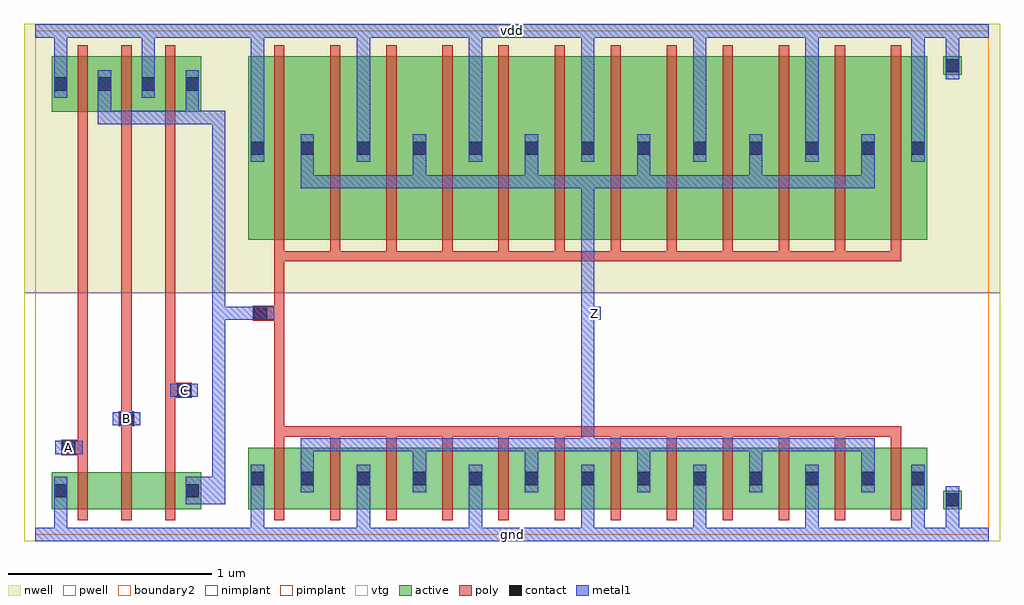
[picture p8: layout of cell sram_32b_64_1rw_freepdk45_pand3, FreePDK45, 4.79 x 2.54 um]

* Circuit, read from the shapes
.subckt sram_32b_64_1rw_freepdk45_pand3 A B C Z gnd vdd
M1 sram_32b_64_1rw_freepdk45_pnand3_0_0/sram_32b_64_1rw_freepdk45_nmos_m1_w0_180_sm1_dactive_3/D A gnd gnd nfet w=0.18u l=0.05u
M2 sram_32b_64_1rw_freepdk45_pnand3_0_0/sram_32b_64_1rw_freepdk45_nmos_m1_w0_180_sactive_dactive_4/D B sram_32b_64_1rw_freepdk45_pnand3_0_0/sram_32b_64_1rw_freepdk45_nmos_m1_w0_180_sm1_dactive_3/D gnd nfet w=0.18u l=0.05u
M3 sram_32b_64_1rw_freepdk45_pdriver_2_1/A C sram_32b_64_1rw_freepdk45_pnand3_0_0/sram_32b_64_1rw_freepdk45_nmos_m1_w0_180_sactive_dactive_4/D gnd nfet w=0.18u l=0.05u
M4 Z sram_32b_64_1rw_freepdk45_pdriver_2_1/A gnd gnd nfet w=0.3u l=0.05u m=12
M5 sram_32b_64_1rw_freepdk45_pdriver_2_1/A A vdd vdd pfet w=0.27u l=0.05u
M6 vdd B sram_32b_64_1rw_freepdk45_pdriver_2_1/A vdd pfet w=0.27u l=0.05u
M7 sram_32b_64_1rw_freepdk45_pdriver_2_1/A C vdd vdd pfet w=0.27u l=0.05u
M8 Z sram_32b_64_1rw_freepdk45_pdriver_2_1/A vdd vdd pfet w=0.9u l=0.05u m=12
.ends

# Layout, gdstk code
import gdstk
lib = gdstk.Library(unit=1e-6, precision=5e-10)
def R(c, l, rs):  # rectangles x0, y0, x1, y1
    for r in rs: c.add(gdstk.rectangle(r[:2], r[2:], *l))
def A(c, l, x, y, w, h, nx, ny, dx, dy):  # array of equal rectangles
    R(c, l, [(x+i*dx, y+j*dy, x+i*dx+w, y+j*dy+h) for i in range(nx) for j in range(ny)])
active = (1, 0)
pwell = (2, 0)
nwell = (3, 0)
nimplant = (4, 0)
pimplant = (5, 0)
vtg = (6, 0)
poly = (9, 0)
contact = (10, 0)
metal1 = (11, 0)
boundary2 = (239, 0)

sram_32b_64_1rw_freepdk4 = lib.new_cell('sram_32b_64_1rw_freepdk45_contact_11')
R(sram_32b_64_1rw_freepdk4, active, [(0,0.0225,0.09,0.1125)])
R(sram_32b_64_1rw_freepdk4, nwell, [(-0.055,-0.0325,0.145,0.1675)])
R(sram_32b_64_1rw_freepdk4, pimplant, [(0,0.0225,0.09,0.1125)])
R(sram_32b_64_1rw_freepdk4, contact, [(0.0125,0.035,0.0775,0.1)])
R(sram_32b_64_1rw_freepdk4, metal1, [(0.0125,0,0.0775,0.135)])
R(sram_32b_64_1rw_freepdk4, boundary2, [(-0.055,-0.0325,0.145,0.1675)])

c_sram_32b_64_1rw_freepdk4 = lib.new_cell('sram_32b_64_1rw_freepdk45_pmos_m1_w0_270_sm1_dm1')
R(c_sram_32b_64_1rw_freepdk4, active, [(0,0,0.305,0.27)])
R(c_sram_32b_64_1rw_freepdk4, nwell, [(-0.08,-0.08,0.385,0.35)])
R(c_sram_32b_64_1rw_freepdk4, pimplant, [(0,0,0.305,0.27)])
R(c_sram_32b_64_1rw_freepdk4, vtg, [(-0.08,-0.08,0.385,0.35)])
R(c_sram_32b_64_1rw_freepdk4, poly, [(0.1275,-0.055,0.1775,0.325), (0.1275,-0.055,0.1775,0.325)])
R(c_sram_32b_64_1rw_freepdk4, metal1, [(0.0125,0.0675,0.0775,0.2025), (0.2275,0.0675,0.2925,0.2025)])
R(c_sram_32b_64_1rw_freepdk4, boundary2, [(-0.08,-0.08,0.385,0.35)])
c_sram_32b_64_1rw_freepdk4.add(gdstk.Reference(sram_32b_64_1rw_freepdk4, (0,0.0675)))
c_sram_32b_64_1rw_freepdk4.add(gdstk.Reference(sram_32b_64_1rw_freepdk4, (0.215,0.0675)))
c_sram_32b_64_1rw_freepdk4.add(gdstk.Label('G', (0.1525,0.135), layer=9, texttype=0))
c_sram_32b_64_1rw_freepdk4.add(gdstk.Label('S', (0.045,0.135), layer=11, texttype=0))
c_sram_32b_64_1rw_freepdk4.add(gdstk.Label('D', (0.26,0.135), layer=11, texttype=0))

c_sram_32b_64_1rw_freepdk4_ = lib.new_cell('sram_32b_64_1rw_freepdk45_contact_10')
R(c_sram_32b_64_1rw_freepdk4_, active, [(0,0.0225,0.09,0.1125)])
R(c_sram_32b_64_1rw_freepdk4_, pwell, [(-0.055,-0.0325,0.145,0.1675)])
R(c_sram_32b_64_1rw_freepdk4_, nimplant, [(0,0.0225,0.09,0.1125)])
R(c_sram_32b_64_1rw_freepdk4_, contact, [(0.0125,0.035,0.0775,0.1)])
R(c_sram_32b_64_1rw_freepdk4_, metal1, [(0.0125,0,0.0775,0.135)])
R(c_sram_32b_64_1rw_freepdk4_, boundary2, [(-0.055,-0.0325,0.145,0.1675)])

c_sram_32b_64_1rw_freepdk4__ = lib.new_cell('sram_32b_64_1rw_freepdk45_nmos_m1_w0_180_sm1_dactive')
R(c_sram_32b_64_1rw_freepdk4__, active, [(0,0,0.305,0.18), (0.215,0.045,0.305,0.135)])
R(c_sram_32b_64_1rw_freepdk4__, pwell, [(-0.08,-0.08,0.385,0.26)])
R(c_sram_32b_64_1rw_freepdk4__, nimplant, [(0,0,0.305,0.18)])
R(c_sram_32b_64_1rw_freepdk4__, vtg, [(-0.08,-0.08,0.385,0.26)])
R(c_sram_32b_64_1rw_freepdk4__, poly, [(0.1275,-0.055,0.1775,0.235), (0.1275,-0.055,0.1775,0.235)])
R(c_sram_32b_64_1rw_freepdk4__, metal1, [(0.0125,0.0225,0.0775,0.1575)])
R(c_sram_32b_64_1rw_freepdk4__, boundary2, [(-0.08,-0.08,0.385,0.26)])
c_sram_32b_64_1rw_freepdk4__.add(gdstk.Reference(c_sram_32b_64_1rw_freepdk4_, (0,0.0225)))
c_sram_32b_64_1rw_freepdk4__.add(gdstk.Label('G', (0.1525,0.09), layer=9, texttype=0))
c_sram_32b_64_1rw_freepdk4__.add(gdstk.Label('S', (0.045,0.09), layer=11, texttype=0))
c_sram_32b_64_1rw_freepdk4__.add(gdstk.Label('D', (0.26,0.09), layer=1, texttype=0))

c_sram_32b_64_1rw_freepdk4___ = lib.new_cell('sram_32b_64_1rw_freepdk45_nmos_m1_w0_180_sactive_dactive')
R(c_sram_32b_64_1rw_freepdk4___, active, [(0,0,0.305,0.18), (0,0.045,0.09,0.135), (0.215,0.045,0.305,0.135)])
R(c_sram_32b_64_1rw_freepdk4___, pwell, [(-0.08,-0.08,0.385,0.26)])
R(c_sram_32b_64_1rw_freepdk4___, nimplant, [(0,0,0.305,0.18)])
R(c_sram_32b_64_1rw_freepdk4___, vtg, [(-0.08,-0.08,0.385,0.26)])
R(c_sram_32b_64_1rw_freepdk4___, poly, [(0.1275,-0.055,0.1775,0.235), (0.1275,-0.055,0.1775,0.235)])
R(c_sram_32b_64_1rw_freepdk4___, boundary2, [(-0.08,-0.08,0.385,0.26)])
c_sram_32b_64_1rw_freepdk4___.add(gdstk.Label('G', (0.1525,0.09), layer=9, texttype=0))
c_sram_32b_64_1rw_freepdk4___.add(gdstk.Label('S', (0.045,0.09), layer=1, texttype=0))
c_sram_32b_64_1rw_freepdk4___.add(gdstk.Label('D', (0.26,0.09), layer=1, texttype=0))

c_sram_32b_64_1rw_freepdk4____ = lib.new_cell('sram_32b_64_1rw_freepdk45_nmos_m1_w0_180_sactive_dm1')
R(c_sram_32b_64_1rw_freepdk4____, active, [(0,0,0.305,0.18), (0,0.045,0.09,0.135)])
R(c_sram_32b_64_1rw_freepdk4____, pwell, [(-0.08,-0.08,0.385,0.26)])
R(c_sram_32b_64_1rw_freepdk4____, nimplant, [(0,0,0.305,0.18)])
R(c_sram_32b_64_1rw_freepdk4____, vtg, [(-0.08,-0.08,0.385,0.26)])
R(c_sram_32b_64_1rw_freepdk4____, poly, [(0.1275,-0.055,0.1775,0.235), (0.1275,-0.055,0.1775,0.235)])
R(c_sram_32b_64_1rw_freepdk4____, metal1, [(0.2275,0.0225,0.2925,0.1575)])
R(c_sram_32b_64_1rw_freepdk4____, boundary2, [(-0.08,-0.08,0.385,0.26)])
c_sram_32b_64_1rw_freepdk4____.add(gdstk.Reference(c_sram_32b_64_1rw_freepdk4_, (0.215,0.0225)))
c_sram_32b_64_1rw_freepdk4____.add(gdstk.Label('G', (0.1525,0.09), layer=9, texttype=0))
c_sram_32b_64_1rw_freepdk4____.add(gdstk.Label('S', (0.045,0.09), layer=1, texttype=0))
c_sram_32b_64_1rw_freepdk4____.add(gdstk.Label('D', (0.26,0.09), layer=11, texttype=0))

c_sram_32b_64_1rw_freepdk4_____ = lib.new_cell('sram_32b_64_1rw_freepdk45_contact_14')
R(c_sram_32b_64_1rw_freepdk4_____, poly, [(0.03,0,0.105,0.075)])
R(c_sram_32b_64_1rw_freepdk4_____, contact, [(0.035,0.005,0.1,0.07)])
R(c_sram_32b_64_1rw_freepdk4_____, metal1, [(0,0.005,0.135,0.07)])
R(c_sram_32b_64_1rw_freepdk4_____, boundary2, [(0,0,0.135,0.075)])

c_sram_32b_64_1rw_freepdk4______ = lib.new_cell('sram_32b_64_1rw_freepdk45_pnand3_0')
R(c_sram_32b_64_1rw_freepdk4______, pwell, [(-0.055,-0.0325,1.02,1.185)])
R(c_sram_32b_64_1rw_freepdk4______, nwell, [(-0.055,1.185,1.02,2.505)])
R(c_sram_32b_64_1rw_freepdk4______, vtg, [(-0.055,-0.0325,1.02,1.185), (-0.055,1.185,1.02,2.505)])
A(c_sram_32b_64_1rw_freepdk4______, poly, 0.2075, 0.36, 0.05, 1.66, 3, 1, 0.215, 0)
R(c_sram_32b_64_1rw_freepdk4______, poly, [(0.165,0.39,0.2075,0.465), (0.4225,0.53,0.4475,0.605), (0.6375,0.67,0.73,0.745)])
R(c_sram_32b_64_1rw_freepdk4______, metal1, [(0,-0.0325,0.965,0.0325), (0.0925,-0.0325,0.1575,0.1475), (0.77,0.1475,0.9,0.2825), (0.8675,0.1475,0.9325,2.045), (0.0975,0.395,0.2325,0.46), (0.38,0.535,0.515,0.6), (0.6625,0.675,0.7975,0.74), (0.3075,2.0125,0.3725,2.0775), (0.34,2.0125,0.9,2.0775), (0.7375,2.0125,0.8025,2.0775), (0.77,2.0125,0.9,2.0775), (0.8675,2.0125,0.9325,2.0775), (0.3075,2.045,0.3725,2.21), (0.7375,2.045,0.8025,2.21), (0.0925,2.1425,0.1575,2.5025), (0.5225,2.1425,0.5875,2.5025), (0,2.4375,0.965,2.5025)])
R(c_sram_32b_64_1rw_freepdk4______, boundary2, [(0,0,0.965,2.47), (0,0,0.965,2.47)])
c_sram_32b_64_1rw_freepdk4______.add(gdstk.Reference(c_sram_32b_64_1rw_freepdk4, (0.08,2.075)))
c_sram_32b_64_1rw_freepdk4______.add(gdstk.Reference(c_sram_32b_64_1rw_freepdk4, (0.295,2.075)))
c_sram_32b_64_1rw_freepdk4______.add(gdstk.Reference(c_sram_32b_64_1rw_freepdk4, (0.51,2.075)))
c_sram_32b_64_1rw_freepdk4______.add(gdstk.Reference(c_sram_32b_64_1rw_freepdk4__, (0.08,0.125)))
c_sram_32b_64_1rw_freepdk4______.add(gdstk.Reference(c_sram_32b_64_1rw_freepdk4___, (0.295,0.125)))
c_sram_32b_64_1rw_freepdk4______.add(gdstk.Reference(c_sram_32b_64_1rw_freepdk4____, (0.51,0.125)))
c_sram_32b_64_1rw_freepdk4______.add(gdstk.Reference(c_sram_32b_64_1rw_freepdk4_____, (0.0975,0.39)))
c_sram_32b_64_1rw_freepdk4______.add(gdstk.Reference(c_sram_32b_64_1rw_freepdk4_____, (0.38,0.53)))
c_sram_32b_64_1rw_freepdk4______.add(gdstk.Reference(c_sram_32b_64_1rw_freepdk4_____, (0.6625,0.67)))
c_sram_32b_64_1rw_freepdk4______.add(gdstk.Label('A', (0.165,0.4275), layer=11, texttype=0))
c_sram_32b_64_1rw_freepdk4______.add(gdstk.Label('B', (0.4475,0.5675), layer=11, texttype=0))
c_sram_32b_64_1rw_freepdk4______.add(gdstk.Label('C', (0.73,0.7075), layer=11, texttype=0))
c_sram_32b_64_1rw_freepdk4______.add(gdstk.Label('Z', (0.9,2.045), layer=11, texttype=0))
c_sram_32b_64_1rw_freepdk4______.add(gdstk.Label('gnd', (0.4825,0), layer=11, texttype=0))
c_sram_32b_64_1rw_freepdk4______.add(gdstk.Label('vdd', (0.4825,2.47), layer=11, texttype=0))

c_sram_32b_64_1rw_freepdk4_______ = lib.new_cell('sram_32b_64_1rw_freepdk45_pmos_m12_w0_900_sm1_dm1_da_p')
R(c_sram_32b_64_1rw_freepdk4_______, active, [(0,0,3.33,0.9)])
R(c_sram_32b_64_1rw_freepdk4_______, nwell, [(-0.08,-0.08,3.41,0.98)])
R(c_sram_32b_64_1rw_freepdk4_______, pimplant, [(0,0,3.33,0.9)])
R(c_sram_32b_64_1rw_freepdk4_______, vtg, [(-0.08,-0.08,3.41,0.98)])
A(c_sram_32b_64_1rw_freepdk4_______, poly, 0.1275, -0.055, 0.05, 1.01, 12, 1, 0.275, 0)
R(c_sram_32b_64_1rw_freepdk4_______, poly, [(0.1275,-0.105,3.2025,-0.055)])
A(c_sram_32b_64_1rw_freepdk4_______, metal1, 0.2575, 0.285, 0.065, 0.165, 6, 1, 0.55, 0)
A(c_sram_32b_64_1rw_freepdk4_______, metal1, 0.5325, 0.3825, 0.065, 0.135, 5, 1, 0.55, 0)
R(c_sram_32b_64_1rw_freepdk4_______, metal1, [(0.2575,0.2525,3.0725,0.3175), (0.0125,0.3825,0.0775,0.5175), (3.2525,0.3825,3.3175,0.5175)])
R(c_sram_32b_64_1rw_freepdk4_______, boundary2, [(-0.08,-0.105,3.41,0.98)])
c_sram_32b_64_1rw_freepdk4_______.add(gdstk.Reference(sram_32b_64_1rw_freepdk4, (0,0.3825)))
c_sram_32b_64_1rw_freepdk4_______.add(gdstk.Reference(sram_32b_64_1rw_freepdk4, (0.245,0.3825)))
c_sram_32b_64_1rw_freepdk4_______.add(gdstk.Reference(sram_32b_64_1rw_freepdk4, (0.52,0.3825)))
c_sram_32b_64_1rw_freepdk4_______.add(gdstk.Reference(sram_32b_64_1rw_freepdk4, (0.795,0.3825)))
c_sram_32b_64_1rw_freepdk4_______.add(gdstk.Reference(sram_32b_64_1rw_freepdk4, (1.07,0.3825)))
c_sram_32b_64_1rw_freepdk4_______.add(gdstk.Reference(sram_32b_64_1rw_freepdk4, (1.345,0.3825)))
c_sram_32b_64_1rw_freepdk4_______.add(gdstk.Reference(sram_32b_64_1rw_freepdk4, (1.62,0.3825)))
c_sram_32b_64_1rw_freepdk4_______.add(gdstk.Reference(sram_32b_64_1rw_freepdk4, (1.895,0.3825)))
c_sram_32b_64_1rw_freepdk4_______.add(gdstk.Reference(sram_32b_64_1rw_freepdk4, (2.17,0.3825)))
c_sram_32b_64_1rw_freepdk4_______.add(gdstk.Reference(sram_32b_64_1rw_freepdk4, (2.445,0.3825)))
c_sram_32b_64_1rw_freepdk4_______.add(gdstk.Reference(sram_32b_64_1rw_freepdk4, (2.72,0.3825)))
c_sram_32b_64_1rw_freepdk4_______.add(gdstk.Reference(sram_32b_64_1rw_freepdk4, (2.995,0.3825)))
c_sram_32b_64_1rw_freepdk4_______.add(gdstk.Reference(sram_32b_64_1rw_freepdk4, (3.24,0.3825)))
c_sram_32b_64_1rw_freepdk4_______.add(gdstk.Label('G', (1.665,-0.08), layer=9, texttype=0))
c_sram_32b_64_1rw_freepdk4_______.add(gdstk.Label('S', (3.285,0.45), layer=11, texttype=0))
c_sram_32b_64_1rw_freepdk4_______.add(gdstk.Label('S', (2.215,0.45), layer=11, texttype=0))
c_sram_32b_64_1rw_freepdk4_______.add(gdstk.Label('S', (1.665,0.45), layer=11, texttype=0))
c_sram_32b_64_1rw_freepdk4_______.add(gdstk.Label('S', (0.045,0.45), layer=11, texttype=0))
c_sram_32b_64_1rw_freepdk4_______.add(gdstk.Label('S', (2.765,0.45), layer=11, texttype=0))
c_sram_32b_64_1rw_freepdk4_______.add(gdstk.Label('S', (1.115,0.45), layer=11, texttype=0))
c_sram_32b_64_1rw_freepdk4_______.add(gdstk.Label('S', (0.565,0.45), layer=11, texttype=0))
c_sram_32b_64_1rw_freepdk4_______.add(gdstk.Label('D', (1.665,0.285), layer=11, texttype=0))

c_sram_32b_64_1rw_freepdk4________ = lib.new_cell('sram_32b_64_1rw_freepdk45_nmos_m12_w0_300_sm1_dm1_da_p')
R(c_sram_32b_64_1rw_freepdk4________, active, [(0,0,3.33,0.3)])
R(c_sram_32b_64_1rw_freepdk4________, pwell, [(-0.08,-0.08,3.41,0.38)])
R(c_sram_32b_64_1rw_freepdk4________, nimplant, [(0,0,3.33,0.3)])
R(c_sram_32b_64_1rw_freepdk4________, vtg, [(-0.08,-0.08,3.41,0.38)])
A(c_sram_32b_64_1rw_freepdk4________, poly, 0.1275, -0.055, 0.05, 0.41, 12, 1, 0.275, 0)
R(c_sram_32b_64_1rw_freepdk4________, poly, [(0.1275,0.355,3.2025,0.405)])
A(c_sram_32b_64_1rw_freepdk4________, metal1, 0.5325, 0.0825, 0.065, 0.135, 5, 1, 0.55, 0)
A(c_sram_32b_64_1rw_freepdk4________, metal1, 0.2575, 0.15, 0.065, 0.165, 6, 1, 0.55, 0)
R(c_sram_32b_64_1rw_freepdk4________, metal1, [(0.0125,0.0825,0.0775,0.2175), (3.2525,0.0825,3.3175,0.2175), (0.2575,0.2825,3.0725,0.3475)])
R(c_sram_32b_64_1rw_freepdk4________, boundary2, [(-0.08,-0.08,3.41,0.405)])
c_sram_32b_64_1rw_freepdk4________.add(gdstk.Reference(c_sram_32b_64_1rw_freepdk4_, (0,0.0825)))
c_sram_32b_64_1rw_freepdk4________.add(gdstk.Reference(c_sram_32b_64_1rw_freepdk4_, (0.245,0.0825)))
c_sram_32b_64_1rw_freepdk4________.add(gdstk.Reference(c_sram_32b_64_1rw_freepdk4_, (0.52,0.0825)))
c_sram_32b_64_1rw_freepdk4________.add(gdstk.Reference(c_sram_32b_64_1rw_freepdk4_, (0.795,0.0825)))
c_sram_32b_64_1rw_freepdk4________.add(gdstk.Reference(c_sram_32b_64_1rw_freepdk4_, (1.07,0.0825)))
c_sram_32b_64_1rw_freepdk4________.add(gdstk.Reference(c_sram_32b_64_1rw_freepdk4_, (1.345,0.0825)))
c_sram_32b_64_1rw_freepdk4________.add(gdstk.Reference(c_sram_32b_64_1rw_freepdk4_, (1.62,0.0825)))
c_sram_32b_64_1rw_freepdk4________.add(gdstk.Reference(c_sram_32b_64_1rw_freepdk4_, (1.895,0.0825)))
c_sram_32b_64_1rw_freepdk4________.add(gdstk.Reference(c_sram_32b_64_1rw_freepdk4_, (2.17,0.0825)))
c_sram_32b_64_1rw_freepdk4________.add(gdstk.Reference(c_sram_32b_64_1rw_freepdk4_, (2.445,0.0825)))
c_sram_32b_64_1rw_freepdk4________.add(gdstk.Reference(c_sram_32b_64_1rw_freepdk4_, (2.72,0.0825)))
c_sram_32b_64_1rw_freepdk4________.add(gdstk.Reference(c_sram_32b_64_1rw_freepdk4_, (2.995,0.0825)))
c_sram_32b_64_1rw_freepdk4________.add(gdstk.Reference(c_sram_32b_64_1rw_freepdk4_, (3.24,0.0825)))
c_sram_32b_64_1rw_freepdk4________.add(gdstk.Label('G', (1.665,0.38), layer=9, texttype=0))
c_sram_32b_64_1rw_freepdk4________.add(gdstk.Label('S', (2.215,0.15), layer=11, texttype=0))
c_sram_32b_64_1rw_freepdk4________.add(gdstk.Label('S', (3.285,0.15), layer=11, texttype=0))
c_sram_32b_64_1rw_freepdk4________.add(gdstk.Label('S', (0.565,0.15), layer=11, texttype=0))
c_sram_32b_64_1rw_freepdk4________.add(gdstk.Label('S', (1.665,0.15), layer=11, texttype=0))
c_sram_32b_64_1rw_freepdk4________.add(gdstk.Label('S', (0.045,0.15), layer=11, texttype=0))
c_sram_32b_64_1rw_freepdk4________.add(gdstk.Label('S', (1.115,0.15), layer=11, texttype=0))
c_sram_32b_64_1rw_freepdk4________.add(gdstk.Label('S', (2.765,0.15), layer=11, texttype=0))
c_sram_32b_64_1rw_freepdk4________.add(gdstk.Label('D', (1.665,0.315), layer=11, texttype=0))

c_sram_32b_64_1rw_freepdk4_________ = lib.new_cell('sram_32b_64_1rw_freepdk45_contact_12')
R(c_sram_32b_64_1rw_freepdk4_________, active, [(0,0.0225,0.09,0.1125)])
R(c_sram_32b_64_1rw_freepdk4_________, nwell, [(-0.055,-0.0325,0.145,0.1675)])
R(c_sram_32b_64_1rw_freepdk4_________, nimplant, [(0,0.0225,0.09,0.1125)])
R(c_sram_32b_64_1rw_freepdk4_________, contact, [(0.0125,0.035,0.0775,0.1)])
R(c_sram_32b_64_1rw_freepdk4_________, metal1, [(0.0125,0,0.0775,0.135)])
R(c_sram_32b_64_1rw_freepdk4_________, boundary2, [(-0.055,-0.0325,0.145,0.1675)])

c_sram_32b_64_1rw_freepdk4__________ = lib.new_cell('sram_32b_64_1rw_freepdk45_contact_13')
R(c_sram_32b_64_1rw_freepdk4__________, active, [(0,0.0225,0.09,0.1125)])
R(c_sram_32b_64_1rw_freepdk4__________, pwell, [(-0.055,-0.0325,0.145,0.1675)])
R(c_sram_32b_64_1rw_freepdk4__________, pimplant, [(0,0.0225,0.09,0.1125)])
R(c_sram_32b_64_1rw_freepdk4__________, contact, [(0.0125,0.035,0.0775,0.1)])
R(c_sram_32b_64_1rw_freepdk4__________, metal1, [(0.0125,0,0.0775,0.135)])
R(c_sram_32b_64_1rw_freepdk4__________, boundary2, [(-0.055,-0.0325,0.145,0.1675)])

c_sram_32b_64_1rw_freepdk4___________ = lib.new_cell('sram_32b_64_1rw_freepdk45_pinv_13')
R(c_sram_32b_64_1rw_freepdk4___________, pwell, [(-0.055,-0.0325,3.7675,1.185)])
R(c_sram_32b_64_1rw_freepdk4___________, nwell, [(-0.055,1.185,3.7675,2.505)])
R(c_sram_32b_64_1rw_freepdk4___________, vtg, [(-0.055,-0.0325,3.7675,1.185), (-0.055,1.185,3.7675,2.505)])
R(c_sram_32b_64_1rw_freepdk4___________, poly, [(0.2075,0.53,0.2575,1.34), (0.14,1.0475,0.2075,1.1225)])
A(c_sram_32b_64_1rw_freepdk4___________, metal1, 0.6125, -0.0325, 0.065, 0.24, 5, 1, 0.55, 0)
A(c_sram_32b_64_1rw_freepdk4___________, metal1, 0.6125, 1.8275, 0.065, 0.675, 5, 1, 0.55, 0)
R(c_sram_32b_64_1rw_freepdk4___________, metal1, [(0,-0.0325,3.7125,0.0325), (0.0925,-0.0325,0.1575,0.2075), (3.3325,-0.0325,3.3975,0.2075), (3.5025,0,3.5675,0.17), (1.7125,0.4075,1.7775,1.7625), (0.0725,1.0525,0.2075,1.1175), (1.745,1.0525,1.81,1.1175), (0.0925,1.8275,0.1575,2.5025), (3.3325,1.8275,3.3975,2.5025), (3.5025,2.3,3.5675,2.47), (0,2.4375,3.7125,2.5025)])
R(c_sram_32b_64_1rw_freepdk4___________, boundary2, [(0,0,3.7125,2.47), (0,0,3.7125,2.47)])
c_sram_32b_64_1rw_freepdk4___________.add(gdstk.Reference(c_sram_32b_64_1rw_freepdk4_______, (0.08,1.445)))
c_sram_32b_64_1rw_freepdk4___________.add(gdstk.Reference(c_sram_32b_64_1rw_freepdk4________, (0.08,0.125)))
c_sram_32b_64_1rw_freepdk4___________.add(gdstk.Reference(c_sram_32b_64_1rw_freepdk4_________, (3.49,2.2325)))
c_sram_32b_64_1rw_freepdk4___________.add(gdstk.Reference(c_sram_32b_64_1rw_freepdk4__________, (3.49,0.1025)))
c_sram_32b_64_1rw_freepdk4___________.add(gdstk.Reference(c_sram_32b_64_1rw_freepdk4_____, (0.0725,1.0475)))
c_sram_32b_64_1rw_freepdk4___________.add(gdstk.Label('A', (0.14,1.085), layer=11, texttype=0))
c_sram_32b_64_1rw_freepdk4___________.add(gdstk.Label('Z', (1.7775,1.085), layer=11, texttype=0))
c_sram_32b_64_1rw_freepdk4___________.add(gdstk.Label('gnd', (1.856,0), layer=11, texttype=0))
c_sram_32b_64_1rw_freepdk4___________.add(gdstk.Label('vdd', (1.856,2.47), layer=11, texttype=0))

c_sram_32b_64_1rw_freepdk4____________ = lib.new_cell('sram_32b_64_1rw_freepdk45_pdriver_2')
R(c_sram_32b_64_1rw_freepdk4____________, pwell, [(-0.055,-0.0325,3.7675,1.185)])
R(c_sram_32b_64_1rw_freepdk4____________, nwell, [(-0.055,1.185,3.7675,2.505)])
R(c_sram_32b_64_1rw_freepdk4____________, vtg, [(-0.055,-0.0325,3.7675,1.185), (-0.055,1.185,3.7675,2.505)])
R(c_sram_32b_64_1rw_freepdk4____________, metal1, [(0,-0.0325,3.7125,0.0325), (0.0725,1.0525,0.2075,1.1175), (1.745,1.0525,1.81,1.1175), (0,2.4375,3.7125,2.5025)])
R(c_sram_32b_64_1rw_freepdk4____________, boundary2, [(0,0,3.7125,2.47), (0,0,3.7125,2.47)])
c_sram_32b_64_1rw_freepdk4____________.add(gdstk.Reference(c_sram_32b_64_1rw_freepdk4___________, (0,0)))
c_sram_32b_64_1rw_freepdk4____________.add(gdstk.Label('Z', (1.7775,1.085), layer=11, texttype=0))
c_sram_32b_64_1rw_freepdk4____________.add(gdstk.Label('A', (0.14,1.085), layer=11, texttype=0))
c_sram_32b_64_1rw_freepdk4____________.add(gdstk.Label('gnd', (1.856,0), layer=11, texttype=0))
c_sram_32b_64_1rw_freepdk4____________.add(gdstk.Label('vdd', (1.856,2.47), layer=11, texttype=0))

c_sram_32b_64_1rw_freepdk4_____________ = lib.new_cell('sram_32b_64_1rw_freepdk45_pand3')
R(c_sram_32b_64_1rw_freepdk4_____________, metal1, [(0,-0.0325,4.6775,0.0325), (0.0975,0.395,0.2325,0.46), (0.38,0.535,0.515,0.6), (0.6625,0.675,0.7975,0.74), (0.8675,1.0525,0.9325,1.1175), (0.9,1.0525,1.105,1.1175), (2.71,1.0525,2.775,1.1175), (0.8675,1.085,0.9325,2.045), (0,2.4375,4.6775,2.5025)])
R(c_sram_32b_64_1rw_freepdk4_____________, boundary2, [(0,0,4.6775,2.47), (0,0,4.6775,2.47)])
c_sram_32b_64_1rw_freepdk4_____________.add(gdstk.Reference(c_sram_32b_64_1rw_freepdk4______, (0,0)))
c_sram_32b_64_1rw_freepdk4_____________.add(gdstk.Reference(c_sram_32b_64_1rw_freepdk4____________, (0.965,0)))
c_sram_32b_64_1rw_freepdk4_____________.add(gdstk.Label('Z', (2.7425,1.085), layer=11, texttype=0))
c_sram_32b_64_1rw_freepdk4_____________.add(gdstk.Label('A', (0.165,0.4275), layer=11, texttype=0))
c_sram_32b_64_1rw_freepdk4_____________.add(gdstk.Label('B', (0.4475,0.5675), layer=11, texttype=0))
c_sram_32b_64_1rw_freepdk4_____________.add(gdstk.Label('C', (0.73,0.7075), layer=11, texttype=0))
c_sram_32b_64_1rw_freepdk4_____________.add(gdstk.Label('gnd', (2.339,0), layer=11, texttype=0))
c_sram_32b_64_1rw_freepdk4_____________.add(gdstk.Label('vdd', (2.339,2.47), layer=11, texttype=0))

lib.write_gds('sram_32b_64_1rw_freepdk45_pand3.gds')
